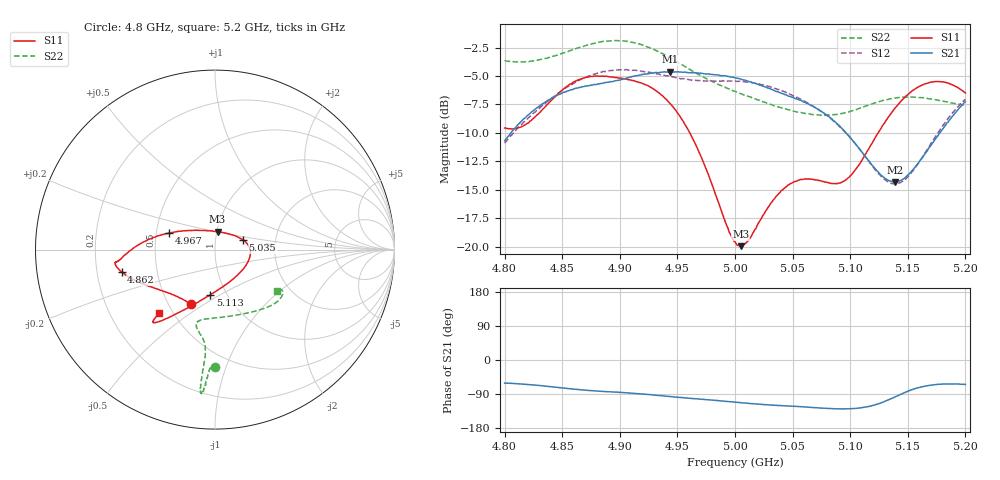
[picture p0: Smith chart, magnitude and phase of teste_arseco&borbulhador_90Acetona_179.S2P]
! Network Analyzer HP8722D
! Hewlett-Packard
! Data name: Linha & Wilkinson
! Saver's name: Rodrigo Anjos
! Comments: Teste da utilização de aquisição
! continua pelo VNA HP8722D
! Time and date: 17/4/2025 12:32
!  Frequency  S11  S21  S12  S22
# HZ  S  MA R 50
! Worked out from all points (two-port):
!   401 points, 4.8 GHz to 5.2 GHz, reference 50 ohm
!   highest |S21| = -4.63 dB at 4.944 GHz (marker M1); lowest = -14.3 dB at 5.139 GHz (marker M2)
!   |S21| within 3 dB of the highest: 4.83 GHz to 5.067 GHz (236.9 MHz wide, 4.79 % of centre); 5.196453 GHz to end of sweep
!   lowest |S11| = -20.0 dB at 5.005 GHz (marker M3), VSWR 1.22, Z = 50.4 + j10.1 ohm
!   |S11| at or under -10 dB: 4.961 GHz to 5.124 GHz (163.4 MHz wide, 3.24 % of centre)
!   |S22| runs from -8.5 to -1.9 dB; largest |S21 - S12| = 0.88
!   S11 on the Smith chart (normalised r, x): 4.8 GHz: 0.64, -0.44; 4.862 GHz: 0.31, -0.11; 4.967 GHz: 0.58, +0.12; 5.035 GHz: 1.36, +0.15; 5.113 GHz: 0.84, -0.45; 5.2 GHz: 0.42, -0.38
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4.8e9  0.3324 -114.1  0.2923 -61.0  0.2854 -175.3  0.6559 -90.0
4.819e9  0.3469 -134.0  0.3736 -64.4  0.3609 -173.8  0.6516 -91.5
4.862e9  0.5353 -166.5  0.4982 -77.2  0.5301 -177.1  0.7434 -93.9
4.867e9  0.5474 -168.5  0.5037 -78.9  0.5456 -178.0  0.7573 -94.0
4.9e9  0.5512 -173.1  0.5392 -85.4  0.5992 175.5  0.8042 -95.5
4.934e9  0.4741 -179.2  0.5829 -93.8  0.5741 171.7  0.7169 -96.0
4.944e9  0.4243 176.1  0.587 -96.4  0.5583 171.7  0.6751 -95.7
4.967e9  0.2731 160.3  0.5796 -102.5  0.5372 173.6  0.5767 -95.2
5e9  0.1051 99.0  0.5521 -111.3  0.5349 176.0  0.4819 -99.4
5.005e9  0.1005 81.9  0.545 -112.8  0.5315 175.9  0.4702 -100.8
5.012e9  0.1074 59.7  0.532 -114.4  0.5276 175.7  0.4565 -102.1
5.035e9  0.1645 19.5  0.4828 -119.5  0.4953 174.6  0.4155 -103.6
5.05e9  0.1911 4.2  0.453 -122.1  0.4612 173.9  0.3953 -100.1
5.067e9  0.1978 -13.9  0.4165 -125.1  0.4168 173.5  0.3811 -90.9
5.093e9  0.1924 -58.3  0.3303 -128.9  0.3287 174.1  0.3848 -70.8
5.113e9  0.2535 -95.9  0.2497 -124.5  0.2491 -180.0  0.4142 -55.1
5.134e9  0.3762 -117.2  0.1947 -104.1  0.1911 -157.1  0.4459 -43.1
5.139e9  0.4069 -120.1  0.1922 -97.2  0.1886 -149.0  0.4502 -41.0
5.15e9  0.4658 -124.9  0.2062 -82.7  0.2026 -132.2  0.4548 -36.9
5.17e9  0.5283 -129.6  0.2784 -66.3  0.2836 -112.5  0.4462 -32.1
5.184e9  0.525 -130.9  0.3499 -63.3  0.3608 -107.4  0.4331 -31.2
5.2e9  0.4735 -131.3  0.4335 -64.6  0.4451 -106.6  0.4166 -33.6
